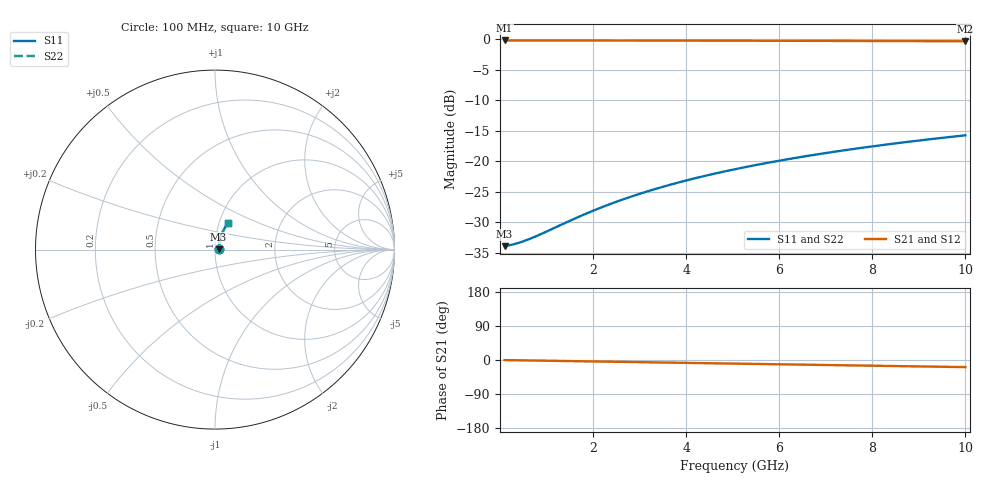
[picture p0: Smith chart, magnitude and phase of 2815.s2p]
# Hz S RI R 50.00
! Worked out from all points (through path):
!   100 points, 100 MHz to 10 GHz, reference 50 ohm
!   highest |S21| = -0.18 dB at 100 MHz (marker M1); lowest = -0.3 dB at 10 GHz (marker M2)
!   group delay of S21, straight-line fit = 5.22 ps
!   lowest |S11| = -33.9 dB at 100 MHz (marker M3), VSWR 1.04, Z = 52.1 + j0.167 ohm
!   |S11| at or under -10 dB: start of sweep to end of sweep
!   |S22| runs from -33.9 to -15.7 dB; largest |S21 - S12| = 0
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1e8  0.0201 0.0016  0.9799 -0.00324  0.9799 -0.00324  0.0201 0.0016
3e8  0.0204 0.0048  0.9796 -0.00973  0.9796 -0.00973  0.0204 0.0048
4e8  0.0205 0.0064  0.9795 -0.013  0.9795 -0.013  0.0205 0.0064
6e8  0.0207 0.00959  0.9792 -0.0194  0.9792 -0.0194  0.0207 0.00959
9e8  0.0211 0.0144  0.9788 -0.0292  0.9788 -0.0292  0.0211 0.0144
1.5e9  0.0221 0.0239  0.9776 -0.0485  0.9776 -0.0485  0.0221 0.0239
1.8e9  0.0227 0.0287  0.9769 -0.0582  0.9769 -0.0582  0.0227 0.0287
2.2e9  0.0236 0.035  0.9757 -0.0711  0.9757 -0.0711  0.0236 0.035
2.6e9  0.0247 0.0413  0.9743 -0.084  0.9743 -0.084  0.0247 0.0413
3e9  0.026 0.0475  0.9728 -0.0968  0.9728 -0.0968  0.026 0.0475
3.4e9  0.0274 0.0537  0.971 -0.1096  0.971 -0.1096  0.0274 0.0537
3.8e9  0.029 0.0599  0.969 -0.1223  0.969 -0.1223  0.029 0.0599
4.2e9  0.0307 0.066  0.9668 -0.135  0.9668 -0.135  0.0307 0.066
4.6e9  0.0326 0.0721  0.9645 -0.1476  0.9645 -0.1476  0.0326 0.0721
5.1e9  0.0352 0.0795  0.9612 -0.1633  0.9612 -0.1633  0.0352 0.0795
5.5e9  0.0374 0.0855  0.9584 -0.1758  0.9584 -0.1758  0.0374 0.0855
5.9e9  0.0398 0.0913  0.9554 -0.1882  0.9554 -0.1882  0.0398 0.0913
6.7e9  0.045 0.1028  0.9487 -0.2129  0.9487 -0.2129  0.045 0.1028
7.5e9  0.0508 0.114  0.9414 -0.2372  0.9414 -0.2372  0.0508 0.114
8.4e9  0.058 0.1261  0.9322 -0.2641  0.9322 -0.2641  0.058 0.1261
9.2e9  0.065 0.1365  0.9233 -0.2876  0.9233 -0.2876  0.065 0.1365
1e10  0.0725 0.1465  0.9137 -0.3108  0.9137 -0.3108  0.0725 0.1465
